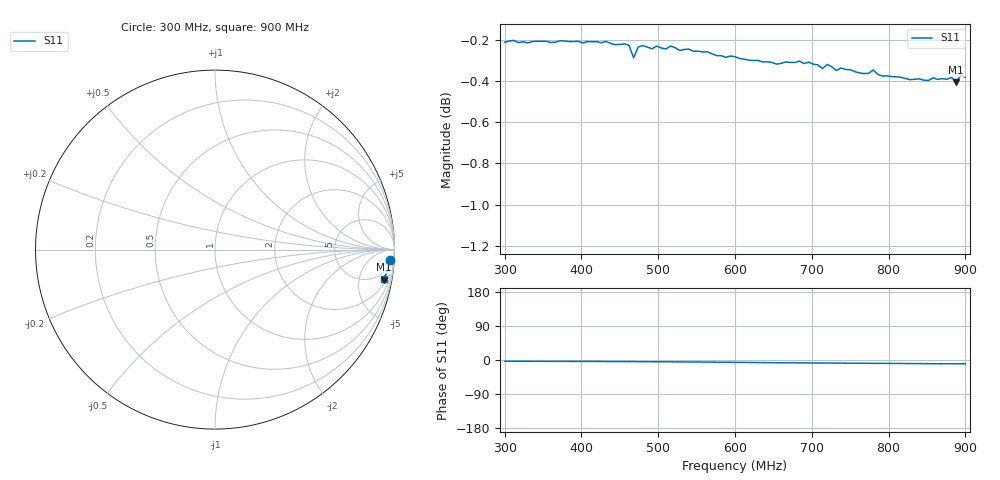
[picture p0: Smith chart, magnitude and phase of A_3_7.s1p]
# HZ S RI R 50
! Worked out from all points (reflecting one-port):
!   101 points, 300 MHz to 900 MHz, reference 50 ohm
!   lowest |S11| = -0.4 dB at 888 MHz (marker M1), VSWR 42.87, Z = 142 - j530 ohm
!   phase of S11 starts at -3 deg and turns -7 deg over the sweep
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3e8  0.9745 -0.0561
3.12e8  0.9752 -0.0589
3.3e8  0.9739 -0.0578
3.78e8  0.9748 -0.0617
4.5e8  0.9723 -0.0702
4.62e8  0.9716 -0.0727
4.68e8  0.965 -0.0706
4.74e8  0.9706 -0.0745
4.8e8  0.9713 -0.0751
5.16e8  0.9705 -0.0819
5.28e8  0.9678 -0.0851
6e8  0.9626 -0.1032
6.54e8  0.9564 -0.1217
6.78e8  0.9568 -0.1261
7.02e8  0.9548 -0.1339
7.14e8  0.9525 -0.1335
7.2e8  0.9547 -0.1338
7.32e8  0.951 -0.1362
7.5e8  0.9509 -0.1401
7.74e8  0.9482 -0.1447
7.8e8  0.9494 -0.1484
7.86e8  0.9474 -0.1468
8.28e8  0.9432 -0.1549
8.58e8  0.9428 -0.1628
8.82e8  0.9429 -0.1638
8.88e8  0.9397 -0.1668
8.94e8  0.9434 -0.1677
9e8  0.943 -0.1633
